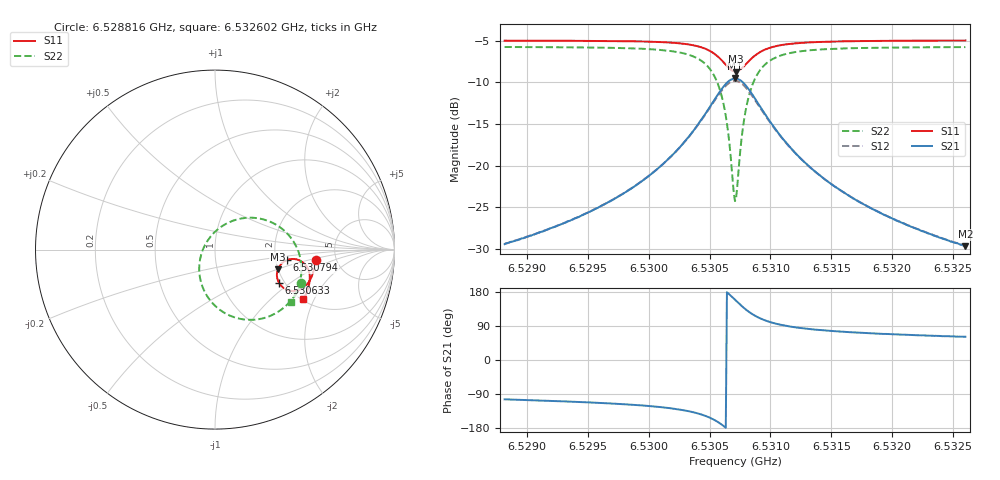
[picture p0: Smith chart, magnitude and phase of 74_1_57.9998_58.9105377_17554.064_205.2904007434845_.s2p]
#  HZ  S  RI  R  50.00
! Rohde & Schwarz Vector Network Analyzer
! Rohde-Schwarz,ZNB20-2Port,1311601062101988,3.16
! Created: UTC 3/21/2024, 12:53:36 AM
! freq[Hz]  re:S11  im:S11  re:S21  im:S21  re:S12  im:S12  re:S22  im:S22
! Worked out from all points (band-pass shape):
!   401 points, 6.528816 GHz to 6.532602 GHz, reference 50 ohm
!   highest |S21| = -9.53 dB at 6.530709 GHz (marker M1); lowest = -29.7 dB at 6.532602 GHz (marker M2)
!   |S21| within 3 dB of the highest: 6.53052 GHz to 6.530898 GHz (378.3 kHz wide, 0.00579 % of centre)
!   lowest |S11| = -8.7 dB at 6.530718 GHz (marker M3), VSWR 2.16, Z = 99.8 - j25.1 ohm
!   |S11| at or under -10 dB: nowhere
!   |S22| runs from -24.3 to -5.7 dB; largest |S21 - S12| = 0.014
!   S11 on the Smith chart (normalised r, x): 6.528816 GHz: 3.48, -0.58; 6.530633 GHz: 1.87, -0.84; 6.530794 GHz: 2.30, -0.32; 6.532602 GHz: 2.03, -1.66
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6.5288155e9  0.5607 -0.0569  -0.00812 -0.0328  -0.00884 -0.0327  0.4813 -0.1869
6.5294497e9  0.5512 -0.1114  -0.0183 -0.0468  -0.0193 -0.0466  0.4488 -0.2488
6.5297999e9  0.5405 -0.1456  -0.0308 -0.0614  -0.0326 -0.0605  0.415 -0.293
6.5300838e9  0.5237 -0.1785  -0.0543 -0.0808  -0.0567 -0.0792  0.3623 -0.3396
6.530311e9  0.4941 -0.2106  -0.1 -0.1034  -0.1032 -0.0998  0.2698 -0.3821
6.5304719e9  0.4455 -0.2299  -0.1774 -0.1097  -0.18 -0.1019  0.128 -0.3831
6.5305666e9  0.3953 -0.2213  -0.2557 -0.0765  -0.2541 -0.0653  -0.00106 -0.3115
6.5306044e9  0.3729 -0.2056  -0.2891 -0.0427  -0.2842 -0.0309  -0.0508 -0.2475
6.5306328e9  0.3581 -0.1873  -0.3096 -0.00672  -0.3019 0.00434  -0.0776 -0.1835
6.5306612e9  0.3479 -0.1636  -0.3215 0.0376  -0.3111 0.0468  -0.0882 -0.1077
6.5306896e9  0.345 -0.1364  -0.3206 0.0867  -0.3084 0.0931  -0.0767 -0.0271
6.5307085e9  0.3479 -0.1179  -0.3119 0.1195  -0.299 0.1235  -0.0561 0.0247
6.530718e9  0.3508 -0.1088  -0.305 0.1352  -0.2923 0.138  -0.0419 0.0486
6.5307653e9  0.3777 -0.0721  -0.2522 0.1977  -0.2416 0.1955  0.0562 0.1409
6.5307937e9  0.3993 -0.059  -0.2127 0.2189  -0.2043 0.2153  0.125 0.1687
6.53086e9  0.4479 -0.0533  -0.1279 0.2284  -0.1234 0.2243  0.2688 0.1684
6.5309546e9  0.4925 -0.0736  -0.0518 0.1975  -0.0501 0.1952  0.3924 0.0996
6.5310966e9  0.5196 -0.1109  -0.00532 0.1467  -0.00395 0.1457  0.462 -0.00405
6.5313427e9  0.5283 -0.1574  0.0151 0.0942  0.0162 0.0939  0.4817 -0.1131
6.5316456e9  0.5236 -0.1959  0.0187 0.0634  0.0197 0.063  0.4724 -0.1851
6.5319769e9  0.5143 -0.2281  0.0181 0.0456  0.0189 0.0453  0.4557 -0.2337
6.5326015e9  0.4922 -0.2776  0.0158 0.0288  0.0165 0.0286  0.4234 -0.2941
